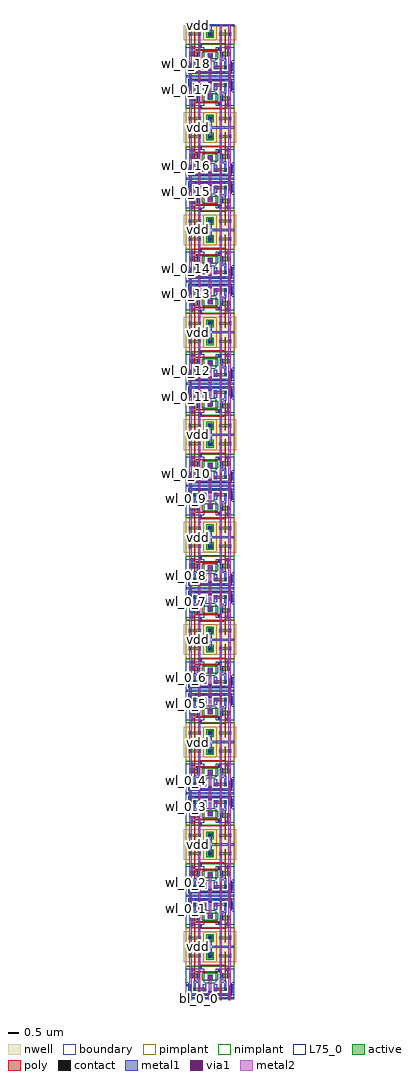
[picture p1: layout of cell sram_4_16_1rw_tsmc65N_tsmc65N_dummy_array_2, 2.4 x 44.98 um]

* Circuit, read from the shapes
.subckt sram_4_16_1rw_tsmc65N_tsmc65N_dummy_array_2 bl_0_0 br_0_0 gnd vdd wl_0_0 wl_0_1 wl_0_10 wl_0_11 wl_0_12 wl_0_13 wl_0_14 wl_0_15 wl_0_16 wl_0_17 wl_0_18 wl_0_2 wl_0_3 wl_0_4 wl_0_5 wl_0_6 wl_0_7 wl_0_8 wl_0_9
M1 n1 n2 gnd gnd nfet w=0.205u l=0.06u
M2 n3 n4 gnd gnd nfet w=0.205u l=0.06u
M3 n5 n6 gnd gnd nfet w=0.205u l=0.06u
M4 n7 n8 gnd gnd nfet w=0.205u l=0.06u
M5 n9 n10 gnd gnd nfet w=0.205u l=0.06u
M6 n11 n12 gnd gnd nfet w=0.205u l=0.06u
M7 n13 n14 gnd gnd nfet w=0.205u l=0.06u
M8 n15 n16 gnd gnd nfet w=0.205u l=0.06u
M9 n17 n18 gnd gnd nfet w=0.205u l=0.06u
M10 n19 n20 gnd gnd nfet w=0.205u l=0.06u
M11 n21 n22 gnd gnd nfet w=0.205u l=0.06u
M12 n23 n24 gnd gnd nfet w=0.205u l=0.06u
M13 n25 n26 gnd gnd nfet w=0.205u l=0.06u
M14 n27 n28 gnd gnd nfet w=0.205u l=0.06u
M15 n29 n30 gnd gnd nfet w=0.205u l=0.06u
M16 n31 n32 gnd gnd nfet w=0.205u l=0.06u
M17 n33 n34 gnd gnd nfet w=0.205u l=0.06u
M18 n35 n36 gnd gnd nfet w=0.205u l=0.06u
M19 n37 n38 gnd gnd nfet w=0.205u l=0.06u
M20 bl_0_0 wl_0_0 n1 gnd nfet w=0.135u l=0.06u
M21 bl_0_0 wl_0_1 n3 gnd nfet w=0.135u l=0.06u
M22 bl_0_0 wl_0_2 n5 gnd nfet w=0.135u l=0.06u
M23 bl_0_0 wl_0_3 n7 gnd nfet w=0.135u l=0.06u
M24 bl_0_0 wl_0_4 n9 gnd nfet w=0.135u l=0.06u
M25 bl_0_0 wl_0_5 n11 gnd nfet w=0.135u l=0.06u
M26 bl_0_0 wl_0_6 n13 gnd nfet w=0.135u l=0.06u
M27 bl_0_0 wl_0_7 n15 gnd nfet w=0.135u l=0.06u
M28 bl_0_0 wl_0_8 n17 gnd nfet w=0.135u l=0.06u
M29 bl_0_0 wl_0_9 n19 gnd nfet w=0.135u l=0.06u
M30 bl_0_0 wl_0_10 n21 gnd nfet w=0.135u l=0.06u
M31 bl_0_0 wl_0_11 n23 gnd nfet w=0.135u l=0.06u
M32 bl_0_0 wl_0_12 n25 gnd nfet w=0.135u l=0.06u
M33 bl_0_0 wl_0_13 n27 gnd nfet w=0.135u l=0.06u
M34 bl_0_0 wl_0_14 n29 gnd nfet w=0.135u l=0.06u
M35 bl_0_0 wl_0_15 n31 gnd nfet w=0.135u l=0.06u
M36 bl_0_0 wl_0_16 n33 gnd nfet w=0.135u l=0.06u
M37 bl_0_0 wl_0_17 n35 gnd nfet w=0.135u l=0.06u
M38 bl_0_0 wl_0_18 n37 gnd nfet w=0.135u l=0.06u
M39 n2 wl_0_0 br_0_0 gnd nfet w=0.135u l=0.06u
M40 n4 wl_0_1 br_0_0 gnd nfet w=0.135u l=0.06u
M41 n6 wl_0_2 br_0_0 gnd nfet w=0.135u l=0.06u
M42 n8 wl_0_3 br_0_0 gnd nfet w=0.135u l=0.06u
M43 n10 wl_0_4 br_0_0 gnd nfet w=0.135u l=0.06u
M44 n12 wl_0_5 br_0_0 gnd nfet w=0.135u l=0.06u
M45 n14 wl_0_6 br_0_0 gnd nfet w=0.135u l=0.06u
M46 n16 wl_0_7 br_0_0 gnd nfet w=0.135u l=0.06u
M47 n18 wl_0_8 br_0_0 gnd nfet w=0.135u l=0.06u
M48 n20 wl_0_9 br_0_0 gnd nfet w=0.135u l=0.06u
M49 n22 wl_0_10 br_0_0 gnd nfet w=0.135u l=0.06u
M50 n24 wl_0_11 br_0_0 gnd nfet w=0.135u l=0.06u
M51 n26 wl_0_12 br_0_0 gnd nfet w=0.135u l=0.06u
M52 n28 wl_0_13 br_0_0 gnd nfet w=0.135u l=0.06u
M53 n30 wl_0_14 br_0_0 gnd nfet w=0.135u l=0.06u
M54 n32 wl_0_15 br_0_0 gnd nfet w=0.135u l=0.06u
M55 n34 wl_0_16 br_0_0 gnd nfet w=0.135u l=0.06u
M56 n36 wl_0_17 br_0_0 gnd nfet w=0.135u l=0.06u
M57 n38 wl_0_18 br_0_0 gnd nfet w=0.135u l=0.06u
M58 gnd n1 n2 gnd nfet w=0.205u l=0.06u
M59 gnd n3 n4 gnd nfet w=0.205u l=0.06u
M60 gnd n5 n6 gnd nfet w=0.205u l=0.06u
M61 gnd n7 n8 gnd nfet w=0.205u l=0.06u
M62 gnd n9 n10 gnd nfet w=0.205u l=0.06u
M63 gnd n11 n12 gnd nfet w=0.205u l=0.06u
M64 gnd n13 n14 gnd nfet w=0.205u l=0.06u
M65 gnd n15 n16 gnd nfet w=0.205u l=0.06u
M66 gnd n17 n18 gnd nfet w=0.205u l=0.06u
M67 gnd n19 n20 gnd nfet w=0.205u l=0.06u
M68 gnd n21 n22 gnd nfet w=0.205u l=0.06u
M69 gnd n23 n24 gnd nfet w=0.205u l=0.06u
M70 gnd n25 n26 gnd nfet w=0.205u l=0.06u
M71 gnd n27 n28 gnd nfet w=0.205u l=0.06u
M72 gnd n29 n30 gnd nfet w=0.205u l=0.06u
M73 gnd n31 n32 gnd nfet w=0.205u l=0.06u
M74 gnd n33 n34 gnd nfet w=0.205u l=0.06u
M75 gnd n35 n36 gnd nfet w=0.205u l=0.06u
M76 gnd n37 n38 gnd nfet w=0.205u l=0.06u
M77 n1 n2 vdd vdd pfet w=0.12u l=0.06u
M78 n3 n4 vdd vdd pfet w=0.12u l=0.06u
M79 n5 n6 vdd vdd pfet w=0.12u l=0.06u
M80 n7 n8 vdd vdd pfet w=0.12u l=0.06u
M81 n9 n10 vdd vdd pfet w=0.12u l=0.06u
M82 n11 n12 vdd vdd pfet w=0.12u l=0.06u
M83 n13 n14 vdd vdd pfet w=0.12u l=0.06u
M84 n15 n16 vdd vdd pfet w=0.12u l=0.06u
M85 n17 n18 vdd vdd pfet w=0.12u l=0.06u
M86 n19 n20 vdd vdd pfet w=0.12u l=0.06u
M87 n21 n22 vdd vdd pfet w=0.12u l=0.06u
M88 n23 n24 vdd vdd pfet w=0.12u l=0.06u
M89 n25 n26 vdd vdd pfet w=0.12u l=0.06u
M90 n27 n28 vdd vdd pfet w=0.12u l=0.06u
M91 n29 n30 vdd vdd pfet w=0.12u l=0.06u
M92 n31 n32 vdd vdd pfet w=0.12u l=0.06u
M93 n33 n34 vdd vdd pfet w=0.12u l=0.06u
M94 n35 n36 vdd vdd pfet w=0.12u l=0.06u
M95 n37 n38 vdd vdd pfet w=0.12u l=0.06u
M96 vdd n1 n2 vdd pfet w=0.12u l=0.06u
M97 vdd n3 n4 vdd pfet w=0.12u l=0.06u
M98 vdd n5 n6 vdd pfet w=0.12u l=0.06u
M99 vdd n7 n8 vdd pfet w=0.12u l=0.06u
M100 vdd n9 n10 vdd pfet w=0.12u l=0.06u
M101 vdd n11 n12 vdd pfet w=0.12u l=0.06u
M102 vdd n13 n14 vdd pfet w=0.12u l=0.06u
M103 vdd n15 n16 vdd pfet w=0.12u l=0.06u
M104 vdd n17 n18 vdd pfet w=0.12u l=0.06u
M105 vdd n19 n20 vdd pfet w=0.12u l=0.06u
M106 vdd n21 n22 vdd pfet w=0.12u l=0.06u
M107 vdd n23 n24 vdd pfet w=0.12u l=0.06u
M108 vdd n25 n26 vdd pfet w=0.12u l=0.06u
M109 vdd n27 n28 vdd pfet w=0.12u l=0.06u
M110 vdd n29 n30 vdd pfet w=0.12u l=0.06u
M111 vdd n31 n32 vdd pfet w=0.12u l=0.06u
M112 vdd n33 n34 vdd pfet w=0.12u l=0.06u
M113 vdd n35 n36 vdd pfet w=0.12u l=0.06u
M114 vdd n37 n38 vdd pfet w=0.12u l=0.06u
.ends

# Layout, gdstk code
import gdstk
lib = gdstk.Library(unit=1e-6, precision=1e-09)
def R(c, l, rs):  # rectangles x0, y0, x1, y1
    for r in rs: c.add(gdstk.rectangle(r[:2], r[2:], *l))
def A(c, l, x, y, w, h, nx, ny, dx, dy):  # array of equal rectangles
    R(c, l, [(x+i*dx, y+j*dy, x+i*dx+w, y+j*dy+h) for i in range(nx) for j in range(ny)])
def P(c, l, *ps):  # polygons
    for p in ps: c.add(gdstk.Polygon(p, *l))
nwell = (3, 0)
active = (6, 0)
poly = (17, 0)
pimplant = (25, 0)
nimplant = (26, 0)
contact = (30, 0)
metal1 = (31, 0)
metal2 = (32, 0)
via1 = (51, 0)
L75_0 = (75, 0)
boundary = (108, 0)

dummy_cell_1rw = lib.new_cell('dummy_cell_1rw')
R(dummy_cell_1rw, nwell, [(-0.08,1.65,0.92,2.24), (0.885,1.65,1.355,2.24), (1.32,1.65,2.32,2.24), (0.885,1.71,1.355,2.18), (-0.08,2.24,2.32,2.36)])
A(dummy_cell_1rw, active, 0.55, 1.87, 0.15, 0.15, 3, 1, 0.495, 0)
R(dummy_cell_1rw, active, [(0.34,0.33,0.49,0.48), (0.75,0.33,0.9,0.48), (1.34,0.33,1.49,0.48), (1.75,0.33,1.9,0.48), (0.34,0.34,0.59,0.475), (0.59,0.34,0.65,0.475), (0.65,0.34,0.9,0.475), (1.34,0.34,1.59,0.475), (1.59,0.34,1.65,0.475), (1.65,0.34,1.9,0.475), (1.005,0.835,1.24,1.07), (1.035,0.865,1.205,1.035), (0.215,0.925,0.39,1.13), (0.39,0.925,0.45,1.13), (0.45,0.925,0.625,1.13), (1.615,0.925,1.79,1.13), (1.79,0.925,1.85,1.13), (1.85,0.925,2.025,1.13), (1.005,1.825,1.24,2.06), (0.14,1.86,0.29,1.87), (0.155,1.86,0.275,2.03), (1.95,1.86,2.1,1.87), (1.965,1.86,2.085,2.03), (0.14,1.87,0.29,2.02), (1.95,1.87,2.1,2.02), (0.14,1.885,0.39,2.005), (0.39,1.885,0.45,2.005), (0.45,1.885,0.7,2.005), (1.54,1.885,1.79,2.005), (1.79,1.885,1.85,2.005), (1.85,1.885,2.1,2.005), (0.14,2.02,0.29,2.03), (1.95,2.02,2.1,2.03)])
R(dummy_cell_1rw, poly, [(0.42,0.155,1.82,0.215), (1.03,0.155,1.2,0.325), (0.59,0.2,0.65,0.34), (1.59,0.2,1.65,0.34), (0.59,0.34,0.65,0.475), (1.59,0.34,1.65,0.475), (0.59,0.475,0.65,0.615), (1.59,0.475,1.65,0.615), (0.39,0.785,0.45,0.925), (1.79,0.785,1.85,0.925), (0.39,0.925,0.45,1.13), (1.79,0.925,1.85,1.13), (0.39,1.13,0.45,1.27), (1.79,1.13,1.85,1.27), (0.39,1.18,1.57,1.24), (1.475,1.18,1.645,1.35), (0.39,1.25,0.45,1.985), (1.79,1.27,1.85,1.985), (0.57,1.36,0.74,1.53), (1.79,1.425,1.85,1.485), (0.67,1.47,1.85,1.53), (0.39,1.745,0.45,1.885), (1.79,1.745,1.85,1.885), (0.39,1.885,0.45,2.005), (1.79,1.885,1.85,2.005), (0.39,2.005,0.45,2.145), (1.79,2.005,1.85,2.145)])
R(dummy_cell_1rw, pimplant, [(0.755,0.815,1.485,1.14), (1.015,0.845,1.225,1.055), (0.01,1.47,2.25,1.68), (0.01,1.545,0.83,2.345), (1.41,1.545,2.23,2.345), (2.23,1.545,2.25,2.345), (0.01,2.345,0.83,2.36), (1.41,2.345,2.25,2.36)])
R(dummy_cell_1rw, nimplant, [(0.21,0,1.03,0.815), (1.03,0,1.21,0.815), (1.21,0,2.03,0.815), (0,0.585,0.085,1.47), (0.085,0.585,0.755,1.47), (1.485,0.585,2.155,1.47), (2.155,0.585,2.24,1.47), (0.74,1.14,1.645,1.47), (0.945,1.77,1.295,2.12), (1.025,1.85,1.215,2.04), (1.025,1.85,1.215,2.04)])
A(dummy_cell_1rw, contact, 0.58, 1.9, 0.09, 0.09, 3, 1, 0.495, 0)
R(dummy_cell_1rw, contact, [(1.07,0.195,1.16,0.285), (0.37,0.365,0.46,0.455), (0.78,0.365,0.87,0.455), (1.37,0.365,1.46,0.455), (1.78,0.365,1.87,0.455), (1.075,0.905,1.165,0.995), (0.245,0.98,0.335,1.07), (0.505,0.98,0.595,1.07), (1.645,0.98,1.735,1.07), (1.905,0.98,1.995,1.07), (1.515,1.22,1.605,1.31), (0.61,1.4,0.7,1.49), (0.17,1.9,0.26,1.99), (0.17,1.9,0.26,1.99), (1.98,1.9,2.07,1.99), (1.98,1.9,2.07,1.99)])
A(dummy_cell_1rw, metal1, 0.13, -0.05, 0.18, 0.1, 3, 1, 0.9, 0)
R(dummy_cell_1rw, metal1, [(0,-0.045,0.09,0.045), (0,-0.045,2.24,0.045), (0,-0.045,2.24,0.045), (2.15,0.14,2.24,0.23), (1.03,0.155,1.2,0.325), (0.775,0.32,0.94,0.645), (0.775,0.32,0.875,0.5), (1.29,0.32,1.465,0.645), (1.365,0.32,1.465,0.5), (0.37,0.325,0.46,0.495), (0.78,0.325,0.87,0.495), (1.37,0.325,1.46,0.495), (1.78,0.325,1.87,0.495), (0,0.545,0.065,0.635), (0,0.545,0.065,0.635), (1.015,0.845,1.225,1.055), (1.07,0.86,1.17,1.04), (0.24,0.915,0.34,1.355), (0.245,0.915,0.335,1.14), (0.505,0.915,0.595,1.14), (0.58,0.915,0.67,2.01), (1.57,0.915,1.66,2.1), (1.645,0.915,1.735,1.14), (1.905,0.915,1.995,1.14), (0.24,0.935,0.34,1.115), (1.905,1.14,1.995,1.355), (1.475,1.18,1.645,1.35), (0.24,1.22,0.34,1.4), (1.9,1.22,2,1.4), (0.57,1.36,0.74,1.53), (0.17,1.86,0.26,2.03), (0.17,1.86,0.26,2.03), (0.17,1.86,0.27,2.41), (0.58,1.86,0.67,2.03), (1.035,1.86,1.205,2.03), (1.57,1.86,1.66,2.03), (1.98,1.86,2.07,2.03), (1.98,1.86,2.07,2.03), (1.035,1.97,1.205,2.41), (0,2.31,1.205,2.41), (0,2.31,1.205,2.41), (1.97,2.31,2.24,2.41), (0,2.315,0.09,2.405)])
P(dummy_cell_1rw, metal1, [(0.065,0.545),(0.15,0.545),(0.15,0.14),(2.24,0.14),(2.24,0.635),(2.15,0.635),(2.15,0.23),(0.24,0.23),(0.24,0.635),(0.065,0.635)],
  [(0.46,0.495),(0.46,0.71),(0.595,0.71),(0.595,0.915),(0.505,0.915),(0.505,0.8),(0.37,0.8),(0.37,0.495)],
  [(1.035,2.31),(1.97,2.31),(1.97,1.86),(2.07,1.86),(2.07,2.41),(1.035,2.41)],
  [(1.645,0.915),(1.645,0.71),(1.78,0.71),(1.78,0.495),(1.87,0.495),(1.87,0.8),(1.735,0.8),(1.735,0.915)])
A(dummy_cell_1rw, metal2, 0.17, -0.09, 0.1, 0.18, 3, 1, 0.9, 0)
R(dummy_cell_1rw, metal2, [(0.17,-0.09,0.27,2.41), (0.57,-0.09,0.67,0.01), (0.57,-0.09,0.67,0.01), (1.07,-0.09,1.17,0.91), (1.57,-0.09,1.67,0.01), (1.57,-0.09,1.67,0.46), (1.57,-0.09,1.67,0.46), (1.97,-0.09,2.07,1.075), (0.57,0.36,0.67,2.41), (0.735,0.36,0.915,0.46), (1.325,0.36,1.505,0.46), (1.07,0.85,1.17,0.91), (1.03,0.9,1.21,1), (0.2,0.975,0.38,1.075), (0.2,1.26,0.38,1.36), (1.86,1.26,2.04,1.36)])
P(dummy_cell_1rw, metal2, [(0.67,-0.09),(0.67,0.36),(0.825,0.36),(0.825,0.46),(0.57,0.46),(0.57,-0.09)],
  [(1.415,0.36),(1.67,0.36),(1.67,2.41),(1.57,2.41),(1.57,0.46),(1.415,0.46)],
  [(1.985,0.975),(2.07,0.975),(2.07,2.41),(1.97,2.41),(1.97,1.075),(1.985,1.075)])
A(dummy_cell_1rw, via1, 0.17, -0.05, 0.1, 0.1, 3, 1, 0.9, 0)
R(dummy_cell_1rw, via1, [(0.775,0.36,0.875,0.46), (1.365,0.36,1.465,0.46), (1.07,0.9,1.17,1), (0.24,0.975,0.34,1.075), (0.24,1.26,0.34,1.36), (1.9,1.26,2,1.36)])
R(dummy_cell_1rw, L75_0, [(0.12,0.115,1.12,0.705), (1.12,0.115,2.12,0.705), (-0.005,0.705,0.845,1.35), (1.395,0.705,2.245,1.35), (1.015,0.845,1.225,1.055)])
R(dummy_cell_1rw, boundary, [(0,0,2.24,2.36)])
dummy_cell_1rw.add(gdstk.Label('wl', (0.01,0.585), layer=31, texttype=0))
dummy_cell_1rw.add(gdstk.Label('gnd', (0.045,0), layer=31, texttype=0))
dummy_cell_1rw.add(gdstk.Label('vdd', (0.045,2.36), layer=31, texttype=0))
dummy_cell_1rw.add(gdstk.Label('[@instanceName]', (0.42,1.945), layer=127, texttype=0))
dummy_cell_1rw.add(gdstk.Label('pch\n0.12/0.06\n', (0.39,1.885), layer=127, texttype=0))
dummy_cell_1rw.add(gdstk.Label('D', (0.625,1.945), layer=127, texttype=0))
dummy_cell_1rw.add(gdstk.Label('S', (0.215,1.945), layer=127, texttype=0))
dummy_cell_1rw.add(gdstk.Label('[@instanceName]', (1.82,1.945), layer=127, texttype=0))
dummy_cell_1rw.add(gdstk.Label('pch\n0.12/0.06\n', (1.85,1.885), layer=127, texttype=0))
dummy_cell_1rw.add(gdstk.Label('D', (1.615,1.945), layer=127, texttype=0))
dummy_cell_1rw.add(gdstk.Label('S', (2.025,1.945), layer=127, texttype=0))
dummy_cell_1rw.add(gdstk.Label('[@instanceName]', (1.62,0.407), layer=127, texttype=0))
dummy_cell_1rw.add(gdstk.Label('nch\n0.135/0.06\n', (1.65,0.34), layer=127, texttype=0))
dummy_cell_1rw.add(gdstk.Label('D', (1.415,0.41), layer=127, texttype=0))
dummy_cell_1rw.add(gdstk.Label('S', (1.825,0.41), layer=127, texttype=0))
dummy_cell_1rw.add(gdstk.Label('[@instanceName]', (0.62,0.407), layer=127, texttype=0))
dummy_cell_1rw.add(gdstk.Label('nch\n0.135/0.06\n', (0.59,0.34), layer=127, texttype=0))
dummy_cell_1rw.add(gdstk.Label('D', (0.825,0.41), layer=127, texttype=0))
dummy_cell_1rw.add(gdstk.Label('S', (0.415,0.41), layer=127, texttype=0))
dummy_cell_1rw.add(gdstk.Label('[@instanceName]', (0.42,1.027), layer=127, texttype=0))
dummy_cell_1rw.add(gdstk.Label('nch\n0.205/0.06\n', (0.39,0.925), layer=127, texttype=0))
dummy_cell_1rw.add(gdstk.Label('D', (0.55,1.027), layer=127, texttype=0))
dummy_cell_1rw.add(gdstk.Label('S', (0.29,1.027), layer=127, texttype=0))
dummy_cell_1rw.add(gdstk.Label('[@instanceName]', (1.82,1.027), layer=127, texttype=0))
dummy_cell_1rw.add(gdstk.Label('nch\n0.205/0.06\n', (1.85,0.925), layer=127, texttype=0))
dummy_cell_1rw.add(gdstk.Label('D', (1.69,1.027), layer=127, texttype=0))
dummy_cell_1rw.add(gdstk.Label('S', (1.95,1.027), layer=127, texttype=0))
dummy_cell_1rw.add(gdstk.Label('& SerialNumber 000000', (0.39,1.885), layer=63, texttype=63))
dummy_cell_1rw.add(gdstk.Label('& Distributor TSMC', (0.39,1.885), layer=63, texttype=63))
dummy_cell_1rw.add(gdstk.Label('& Metric 1', (0.39,1.885), layer=63, texttype=63))
dummy_cell_1rw.add(gdstk.Label('& PDK Version "tsmcN65_DTQ::RWg\\177;oCnm~vw{v}v\\202_20120815"', (0.39,1.885), layer=63, texttype=63))
dummy_cell_1rw.add(gdstk.Label('& PDK TechNode "CRN65LP"', (0.39,1.885), layer=63, texttype=63))
dummy_cell_1rw.add(gdstk.Label('& Product    tsmcN65_PDK', (0.39,1.885), layer=63, texttype=63))
dummy_cell_1rw.add(gdstk.Label('& Vendor     Taiwan Semiconductor manufacturing Corp.', (0.39,1.885), layer=63, texttype=63))
dummy_cell_1rw.add(gdstk.Label('& SerialNumber 000000', (1.85,1.885), layer=63, texttype=63))
dummy_cell_1rw.add(gdstk.Label('& Distributor TSMC', (1.85,1.885), layer=63, texttype=63))
dummy_cell_1rw.add(gdstk.Label('& Metric 1', (1.85,1.885), layer=63, texttype=63))
dummy_cell_1rw.add(gdstk.Label('& PDK Version "tsmcN65_DTQ::RWg\\177;oCnm~vw{v}v\\202_20120815"', (1.85,1.885), layer=63, texttype=63))
dummy_cell_1rw.add(gdstk.Label('& PDK TechNode "CRN65LP"', (1.85,1.885), layer=63, texttype=63))
dummy_cell_1rw.add(gdstk.Label('& Product    tsmcN65_PDK', (1.85,1.885), layer=63, texttype=63))
dummy_cell_1rw.add(gdstk.Label('& Vendor     Taiwan Semiconductor manufacturing Corp.', (1.85,1.885), layer=63, texttype=63))
dummy_cell_1rw.add(gdstk.Label('& SerialNumber 000000', (1.65,0.34), layer=63, texttype=63))
dummy_cell_1rw.add(gdstk.Label('& Distributor TSMC', (1.65,0.34), layer=63, texttype=63))
dummy_cell_1rw.add(gdstk.Label('& Metric 1', (1.65,0.34), layer=63, texttype=63))
dummy_cell_1rw.add(gdstk.Label('& PDK Version "tsmcN65_DTQ::RWg\\177;oCnm~vw{v}v\\202_20120815"', (1.65,0.34), layer=63, texttype=63))
dummy_cell_1rw.add(gdstk.Label('& PDK TechNode "CRN65LP"', (1.65,0.34), layer=63, texttype=63))
dummy_cell_1rw.add(gdstk.Label('& Product    tsmcN65_PDK', (1.65,0.34), layer=63, texttype=63))
dummy_cell_1rw.add(gdstk.Label('& Vendor     Taiwan Semiconductor manufacturing Corp.', (1.65,0.34), layer=63, texttype=63))
dummy_cell_1rw.add(gdstk.Label('& SerialNumber 000000', (0.59,0.34), layer=63, texttype=63))
dummy_cell_1rw.add(gdstk.Label('& Distributor TSMC', (0.59,0.34), layer=63, texttype=63))
dummy_cell_1rw.add(gdstk.Label('& Metric 1', (0.59,0.34), layer=63, texttype=63))
dummy_cell_1rw.add(gdstk.Label('& PDK Version "tsmcN65_DTQ::RWg\\177;oCnm~vw{v}v\\202_20120815"', (0.59,0.34), layer=63, texttype=63))
dummy_cell_1rw.add(gdstk.Label('& PDK TechNode "CRN65LP"', (0.59,0.34), layer=63, texttype=63))
dummy_cell_1rw.add(gdstk.Label('& Product    tsmcN65_PDK', (0.59,0.34), layer=63, texttype=63))
dummy_cell_1rw.add(gdstk.Label('& Vendor     Taiwan Semiconductor manufacturing Corp.', (0.59,0.34), layer=63, texttype=63))
dummy_cell_1rw.add(gdstk.Label('& SerialNumber 000000', (0.39,0.925), layer=63, texttype=63))
dummy_cell_1rw.add(gdstk.Label('& Distributor TSMC', (0.39,0.925), layer=63, texttype=63))
dummy_cell_1rw.add(gdstk.Label('& Metric 1', (0.39,0.925), layer=63, texttype=63))
dummy_cell_1rw.add(gdstk.Label('& PDK Version "tsmcN65_DTQ::RWg\\177;oCnm~vw{v}v\\202_20120815"', (0.39,0.925), layer=63, texttype=63))
dummy_cell_1rw.add(gdstk.Label('& PDK TechNode "CRN65LP"', (0.39,0.925), layer=63, texttype=63))
dummy_cell_1rw.add(gdstk.Label('& Product    tsmcN65_PDK', (0.39,0.925), layer=63, texttype=63))
dummy_cell_1rw.add(gdstk.Label('& Vendor     Taiwan Semiconductor manufacturing Corp.', (0.39,0.925), layer=63, texttype=63))
dummy_cell_1rw.add(gdstk.Label('& SerialNumber 000000', (1.85,0.925), layer=63, texttype=63))
dummy_cell_1rw.add(gdstk.Label('& Distributor TSMC', (1.85,0.925), layer=63, texttype=63))
dummy_cell_1rw.add(gdstk.Label('& Metric 1', (1.85,0.925), layer=63, texttype=63))
dummy_cell_1rw.add(gdstk.Label('& PDK Version "tsmcN65_DTQ::RWg\\177;oCnm~vw{v}v\\202_20120815"', (1.85,0.925), layer=63, texttype=63))
dummy_cell_1rw.add(gdstk.Label('& PDK TechNode "CRN65LP"', (1.85,0.925), layer=63, texttype=63))
dummy_cell_1rw.add(gdstk.Label('& Product    tsmcN65_PDK', (1.85,0.925), layer=63, texttype=63))
dummy_cell_1rw.add(gdstk.Label('& Vendor     Taiwan Semiconductor manufacturing Corp.', (1.85,0.925), layer=63, texttype=63))
dummy_cell_1rw.add(gdstk.Label('bl', (0.62,-0.04), layer=32, texttype=0))
dummy_cell_1rw.add(gdstk.Label('br', (1.62,-0.04), layer=32, texttype=0))
dummy_cell_1rw.add(gdstk.Label('bl', (0.62,-0.04), layer=32, texttype=0))
dummy_cell_1rw.add(gdstk.Label('br', (1.62,0.185), layer=32, texttype=0))
dummy_cell_1rw.add(gdstk.Label('wl', (0.032,0.59), layer=31, texttype=0))
dummy_cell_1rw.add(gdstk.Label('vdd', (0.602,2.36), layer=31, texttype=0))
dummy_cell_1rw.add(gdstk.Label('gnd', (1.12,0), layer=31, texttype=0))

sram_4_16_1rw_tsmc65n_ts = lib.new_cell('sram_4_16_1rw_tsmc65N_tsmc65N_dummy_array_2')
A(sram_4_16_1rw_tsmc65n_ts, metal1, 0, -0.045, 2.24, 0.09, 1, 10, 0, 4.72)
A(sram_4_16_1rw_tsmc65n_ts, metal1, 0, 2.31, 1.205, 0.1, 1, 10, 0, 4.72)
R(sram_4_16_1rw_tsmc65n_ts, metal1, [(0,0.545,0.065,0.635), (0,4.085,0.065,4.175), (0,5.265,0.065,5.355), (0,8.805,0.065,8.895), (0,9.985,0.065,10.075), (0,13.525,0.065,13.615), (0,14.705,0.065,14.795), (0,18.245,0.065,18.335), (0,19.425,0.065,19.515), (0,22.965,0.065,23.055), (0,24.145,0.065,24.235), (0,27.685,0.065,27.775), (0,28.865,0.065,28.955), (0,32.405,0.065,32.495), (0,33.585,0.065,33.675), (0,37.125,0.065,37.215), (0,38.305,0.065,38.395), (0,41.845,0.065,41.935), (0,43.025,0.065,43.115)])
R(sram_4_16_1rw_tsmc65n_ts, metal2, [(0.57,-0.09,0.67,0.01), (1.57,-0.09,1.67,0.46)])
R(sram_4_16_1rw_tsmc65n_ts, boundary, [(0,0,2.24,44.84)])
sram_4_16_1rw_tsmc65n_ts.add(gdstk.Reference(dummy_cell_1rw, (0,0)))
sram_4_16_1rw_tsmc65n_ts.add(gdstk.Reference(dummy_cell_1rw, (0,4.72), x_reflection=True))
sram_4_16_1rw_tsmc65n_ts.add(gdstk.Reference(dummy_cell_1rw, (0,4.72)))
sram_4_16_1rw_tsmc65n_ts.add(gdstk.Reference(dummy_cell_1rw, (0,9.44), x_reflection=True))
sram_4_16_1rw_tsmc65n_ts.add(gdstk.Reference(dummy_cell_1rw, (0,9.44)))
sram_4_16_1rw_tsmc65n_ts.add(gdstk.Reference(dummy_cell_1rw, (0,14.16), x_reflection=True))
sram_4_16_1rw_tsmc65n_ts.add(gdstk.Reference(dummy_cell_1rw, (0,14.16)))
sram_4_16_1rw_tsmc65n_ts.add(gdstk.Reference(dummy_cell_1rw, (0,18.88), x_reflection=True))
sram_4_16_1rw_tsmc65n_ts.add(gdstk.Reference(dummy_cell_1rw, (0,18.88)))
sram_4_16_1rw_tsmc65n_ts.add(gdstk.Reference(dummy_cell_1rw, (0,23.6), x_reflection=True))
sram_4_16_1rw_tsmc65n_ts.add(gdstk.Reference(dummy_cell_1rw, (0,23.6)))
sram_4_16_1rw_tsmc65n_ts.add(gdstk.Reference(dummy_cell_1rw, (0,28.32), x_reflection=True))
sram_4_16_1rw_tsmc65n_ts.add(gdstk.Reference(dummy_cell_1rw, (0,28.32)))
sram_4_16_1rw_tsmc65n_ts.add(gdstk.Reference(dummy_cell_1rw, (0,33.04), x_reflection=True))
sram_4_16_1rw_tsmc65n_ts.add(gdstk.Reference(dummy_cell_1rw, (0,33.04)))
sram_4_16_1rw_tsmc65n_ts.add(gdstk.Reference(dummy_cell_1rw, (0,37.76), x_reflection=True))
sram_4_16_1rw_tsmc65n_ts.add(gdstk.Reference(dummy_cell_1rw, (0,37.76)))
sram_4_16_1rw_tsmc65n_ts.add(gdstk.Reference(dummy_cell_1rw, (0,42.48), x_reflection=True))
sram_4_16_1rw_tsmc65n_ts.add(gdstk.Reference(dummy_cell_1rw, (0,42.48)))
sram_4_16_1rw_tsmc65n_ts.add(gdstk.Label('bl_0_0', (0.62,-0.04), layer=32, texttype=0))
sram_4_16_1rw_tsmc65n_ts.add(gdstk.Label('br_0_0', (1.62,0.185), layer=32, texttype=0))
sram_4_16_1rw_tsmc65n_ts.add(gdstk.Label('wl_0_0', (0.032,0.59), layer=31, texttype=0))
sram_4_16_1rw_tsmc65n_ts.add(gdstk.Label('wl_0_1', (0.032,4.13), layer=31, texttype=0))
sram_4_16_1rw_tsmc65n_ts.add(gdstk.Label('wl_0_2', (0.032,5.31), layer=31, texttype=0))
sram_4_16_1rw_tsmc65n_ts.add(gdstk.Label('wl_0_3', (0.032,8.85), layer=31, texttype=0))
sram_4_16_1rw_tsmc65n_ts.add(gdstk.Label('wl_0_4', (0.032,10.03), layer=31, texttype=0))
sram_4_16_1rw_tsmc65n_ts.add(gdstk.Label('wl_0_5', (0.032,13.57), layer=31, texttype=0))
sram_4_16_1rw_tsmc65n_ts.add(gdstk.Label('wl_0_6', (0.032,14.75), layer=31, texttype=0))
sram_4_16_1rw_tsmc65n_ts.add(gdstk.Label('wl_0_7', (0.032,18.29), layer=31, texttype=0))
sram_4_16_1rw_tsmc65n_ts.add(gdstk.Label('wl_0_8', (0.032,19.47), layer=31, texttype=0))
sram_4_16_1rw_tsmc65n_ts.add(gdstk.Label('wl_0_9', (0.032,23.01), layer=31, texttype=0))
sram_4_16_1rw_tsmc65n_ts.add(gdstk.Label('wl_0_10', (0.032,24.19), layer=31, texttype=0))
sram_4_16_1rw_tsmc65n_ts.add(gdstk.Label('wl_0_11', (0.032,27.73), layer=31, texttype=0))
sram_4_16_1rw_tsmc65n_ts.add(gdstk.Label('wl_0_12', (0.032,28.91), layer=31, texttype=0))
sram_4_16_1rw_tsmc65n_ts.add(gdstk.Label('wl_0_13', (0.032,32.45), layer=31, texttype=0))
sram_4_16_1rw_tsmc65n_ts.add(gdstk.Label('wl_0_14', (0.032,33.63), layer=31, texttype=0))
sram_4_16_1rw_tsmc65n_ts.add(gdstk.Label('wl_0_15', (0.032,37.17), layer=31, texttype=0))
sram_4_16_1rw_tsmc65n_ts.add(gdstk.Label('wl_0_16', (0.032,38.35), layer=31, texttype=0))
sram_4_16_1rw_tsmc65n_ts.add(gdstk.Label('wl_0_17', (0.032,41.89), layer=31, texttype=0))
sram_4_16_1rw_tsmc65n_ts.add(gdstk.Label('wl_0_18', (0.032,43.07), layer=31, texttype=0))
sram_4_16_1rw_tsmc65n_ts.add(gdstk.Label('vdd', (0.602,25.96), layer=31, texttype=0))
sram_4_16_1rw_tsmc65n_ts.add(gdstk.Label('vdd', (0.602,35.4), layer=31, texttype=0))
sram_4_16_1rw_tsmc65n_ts.add(gdstk.Label('vdd', (0.602,40.12), layer=31, texttype=0))
sram_4_16_1rw_tsmc65n_ts.add(gdstk.Label('vdd', (0.602,7.08), layer=31, texttype=0))
sram_4_16_1rw_tsmc65n_ts.add(gdstk.Label('vdd', (0.602,21.24), layer=31, texttype=0))
sram_4_16_1rw_tsmc65n_ts.add(gdstk.Label('vdd', (0.602,30.68), layer=31, texttype=0))
sram_4_16_1rw_tsmc65n_ts.add(gdstk.Label('vdd', (0.602,11.8), layer=31, texttype=0))
sram_4_16_1rw_tsmc65n_ts.add(gdstk.Label('vdd', (0.602,44.84), layer=31, texttype=0))
sram_4_16_1rw_tsmc65n_ts.add(gdstk.Label('vdd', (0.602,2.36), layer=31, texttype=0))
sram_4_16_1rw_tsmc65n_ts.add(gdstk.Label('vdd', (0.602,16.52), layer=31, texttype=0))
sram_4_16_1rw_tsmc65n_ts.add(gdstk.Label('gnd', (1.12,0), layer=31, texttype=0))
sram_4_16_1rw_tsmc65n_ts.add(gdstk.Label('gnd', (1.12,33.04), layer=31, texttype=0))
sram_4_16_1rw_tsmc65n_ts.add(gdstk.Label('gnd', (1.12,37.76), layer=31, texttype=0))
sram_4_16_1rw_tsmc65n_ts.add(gdstk.Label('gnd', (1.12,23.6), layer=31, texttype=0))
sram_4_16_1rw_tsmc65n_ts.add(gdstk.Label('gnd', (1.12,14.16), layer=31, texttype=0))
sram_4_16_1rw_tsmc65n_ts.add(gdstk.Label('gnd', (1.12,4.72), layer=31, texttype=0))
sram_4_16_1rw_tsmc65n_ts.add(gdstk.Label('gnd', (1.12,42.48), layer=31, texttype=0))
sram_4_16_1rw_tsmc65n_ts.add(gdstk.Label('gnd', (1.12,28.32), layer=31, texttype=0))
sram_4_16_1rw_tsmc65n_ts.add(gdstk.Label('gnd', (1.12,9.44), layer=31, texttype=0))
sram_4_16_1rw_tsmc65n_ts.add(gdstk.Label('gnd', (1.12,18.88), layer=31, texttype=0))

lib.write_gds('sram_4_16_1rw_tsmc65N_tsmc65N_dummy_array_2.gds')
